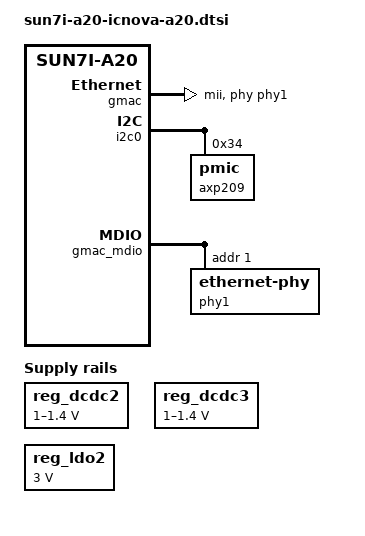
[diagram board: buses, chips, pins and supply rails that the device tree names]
// SPDX-License-Identifier: (GPL-2.0 OR MIT)
// Copyright (C) 2023 In-Circuit GmbH

#include "sun7i-a20.dtsi"
#include "sunxi-common-regulators.dtsi"

#include <dt-bindings/interrupt-controller/irq.h>

&cpu0 {
	cpu-supply = <&reg_dcdc2>;
};

&gmac {
	pinctrl-names = "default";
	pinctrl-0 = <&gmac_mii_pins>;
	phy-handle = <&phy1>;
	phy-mode = "mii";
	status = "okay";
};

&i2c0 {
	status = "okay";

	axp209: pmic@34 {
		reg = <0x34>;
		interrupt-parent = <&nmi_intc>;
		interrupts = <0 IRQ_TYPE_LEVEL_LOW>;
	};
};

&gmac_mdio {
	phy1: ethernet-phy@1 {
		reg = <1>;
	};
};

#include "axp209.dtsi"

&reg_dcdc2 {
	regulator-always-on;
	regulator-min-microvolt = <1000000>;
	regulator-max-microvolt = <1400000>;
	regulator-name = "vdd-cpu";
};

&reg_dcdc3 {
	regulator-always-on;
	regulator-min-microvolt = <1000000>;
	regulator-max-microvolt = <1400000>;
	regulator-name = "vdd-int-dll";
};

&reg_ldo1 {
	regulator-name = "vdd-rtc";
};

&reg_ldo2 {
	regulator-always-on;
	regulator-min-microvolt = <3000000>;
	regulator-max-microvolt = <3000000>;
	regulator-name = "avcc";
};
